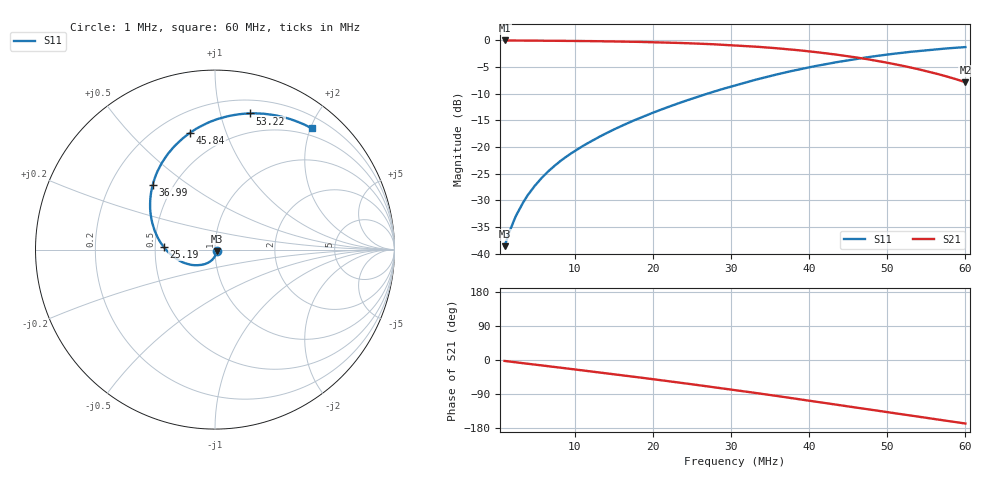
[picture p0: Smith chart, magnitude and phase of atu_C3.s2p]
! S11/S21 from S-A-A-2 VNA
! Written 2026-11-14 07:44:10 by the saav2 MCP server
! S12 and S22 were not measured (1.5-port VNA) and are written as 0
# HZ S RI R 50
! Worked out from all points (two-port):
!   201 points, 1 MHz to 60 MHz, reference 50 ohm
!   highest |S21| = -0.03 dB at 1 MHz (marker M1); lowest = -7.8 dB at 60 MHz (marker M2)
!   |S21| within 3 dB of the highest: start of sweep to 45.19 MHz
!   lowest |S11| = -38.6 dB at 1 MHz (marker M3), VSWR 1.02, Z = 50.8 - j0.84 ohm
!   |S11| at or under -10 dB: start of sweep to 26.96 MHz
!   S12 and S22 are empty: the file has one direction only
!   S11 on the Smith chart (normalised r, x): 1 MHz: 1.02, -0.02; 25.19 MHz: 0.55, +0.02; 36.99 MHz: 0.39, +0.37; 45.84 MHz: 0.32, +0.76; 53.22 MHz: 0.32, +1.24; 60 MHz: 0.38, +2.02
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1000000  0.00838 -0.00826  0.9961 -0.0437  0 0  0 0
1590000  0.00799 -0.0138  0.9942 -0.0696  0 0  0 0
2475000  0.00598 -0.022  0.9894 -0.1074  0 0  0 0
3950000  0.000389 -0.0353  0.9791 -0.1702  0 0  0 0
4835000  -0.00398 -0.0428  0.971 -0.2068  0 0  0 0
6310000  -0.0135 -0.0549  0.954 -0.2683  0 0  0 0
7490000  -0.0234 -0.0634  0.9376 -0.3161  0 0  0 0
1.103e7  -0.0614 -0.082  0.8734 -0.4544  0 0  0 0
1.5455e7  -0.1244 -0.0864  0.7606 -0.61  0 0  0 0
2.0765e7  -0.2141 -0.0519  0.5803 -0.7605  0 0  0 0
2.519e7  -0.2864 0.0158  0.4002 -0.8446  0 0  0 0
2.755e7  -0.3193 0.0671  0.2974 -0.8706  0 0  0 0
3.05e7  -0.3488 0.1455  0.1644 -0.8819  0 0  0 0
3.3745e7  -0.3618 0.2479  0.0186 -0.8657  0 0  0 0
3.699e7  -0.3468 0.3612  -0.1194 -0.8206  0 0  0 0
4.053e7  -0.2937 0.4869  -0.2521 -0.7386  0 0  0 0
4.289e7  -0.2353 0.5655  -0.326 -0.6687  0 0  0 0
4.584e7  -0.138 0.6513  -0.3978 -0.5691  0 0  0 0
5.0265e7  0.0503 0.7379  -0.4568 -0.4062  0 0  0 0
5.3215e7  0.1951 0.7585  -0.4643 -0.2983  0 0  0 0
5.6165e7  0.3468 0.746  -0.448 -0.198  0 0  0 0
6e7  0.539 0.6759  -0.3958 -0.0867  0 0  0 0
